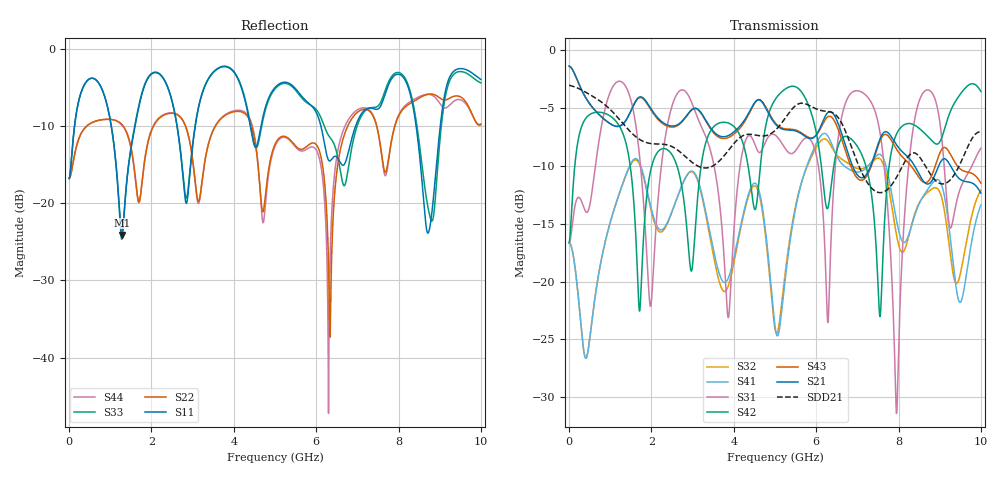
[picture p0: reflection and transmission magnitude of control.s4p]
! Created with skrf 2.0.1 (http://scikit-rf.org).
# Hz S RI R 50.0
!freq ReS11 ImS11 ReS12 ImS12 ReS13 ImS13
! ReS14 ImS14
! ReS21 ImS21 ReS22 ImS22 ReS23 ImS23
! ReS24 ImS24
! ReS31 ImS31 ReS32 ImS32 ReS33 ImS33
! ReS34 ImS34
! ReS41 ImS41 ReS42 ImS42 ReS43 ImS43
! ReS44 ImS44
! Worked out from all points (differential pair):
!   1001 points, 1 MHz to 10 GHz, reference 50 ohm
!   strongest paths, dB at 1 MHz, 2.501 GHz, 5 GHz, 7.5 GHz, 10 GHz:
!     S21: -1.4, -6.6, -6.4, -8.2, -12.4
!     S43: -1.4, -6.7, -6.3, -8.3, -11.5
!     S42: -16.6, -9.1, -4.3, -20.2, -3.6
!     S31: -16.7, -4.8, -7.3, -6.2, -8.5
!     S41: -16.7, -13.9, -23.8, -9.0, -13.4
!     S32: -16.7, -14.0, -24.1, -9.3, -12.1
!   taken as a pair (ports 1,3 in; 2,4 out), SDD21 dB: -3.0, -8.3, -7.0, -12.3, -7.1
!   lowest |S11| = -24.1 dB at 1.281 GHz (marker M1), VSWR 1.13, Z = 56.6 - j0.325 ohm
!   |S11| at or under -10 dB: 1.024 GHz to 1.603 GHz (578.4 MHz wide, 44 % of centre); 6.113 GHz to 6.959 GHz (846.1 MHz wide, 12.9 % of centre); 8.427 GHz to 9.015 GHz (587.9 MHz wide, 6.74 % of centre)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
1000000  -0.1442 0.00316  0.8509 -0.00332  0.1463 0.000694  0.147 -0.00116
         0.8509 -0.00332  -0.1454 0.00211  0.147 -0.00116  0.1476 0.00174
         0.1463 0.000694  0.147 -0.00116  -0.1442 0.00316  0.8509 -0.00332
         0.147 -0.00116  0.1476 0.00174  0.8509 -0.00332  -0.1454 0.00211
1.280872e9  0.0621 -0.00286  -0.4251 -0.21  0.6658 -0.2925  0.0599 -0.2515
            -0.4251 -0.21  0.2061 -0.2481  0.0598 -0.2505  0.2799 -0.3489
            0.6658 -0.2925  0.0598 -0.2505  0.0583 -6.58e-05  -0.4261 -0.209
            0.0599 -0.2515  0.2799 -0.3489  -0.4261 -0.209  0.2061 -0.2462
6.30037e9  0.1845 -0.0432  0.2984 -0.4498  -0.0452 0.0558  0.4162 0.057
           0.2984 -0.4498  -0.0168 -0.0369  0.3846 0.1124  0.2069 -0.0514
           -0.0452 0.0558  0.3846 0.1124  0.2638 -0.0747  0.272 -0.4389
           0.4162 0.057  0.2069 -0.0514  0.272 -0.4389  -0.00287 0.0033
6.880312e9  0.1978 0.1847  -0.2538 -0.1892  0.5974 -0.2752  0.096 -0.2844
            -0.2538 -0.1892  0.317 -0.1635  0.1302 -0.2866  0.3683 -0.1752
            0.5974 -0.2752  0.1302 -0.2866  0.1559 0.1824  -0.2381 -0.188
            0.096 -0.2844  0.3683 -0.1752  -0.2381 -0.188  0.3303 -0.1799
7.950205e9  0.6752 0.0792  0.00732 0.3896  0.0161 -0.0217  -0.1133 0.1447
            0.00732 0.3896  0.2853 -0.1837  -0.1171 0.1077  0.4095 0.1406
            0.0161 -0.0217  -0.1171 0.1077  0.6901 0.1069  0.000742 0.3732
            -0.1133 0.1447  0.4095 0.1406  0.000742 0.3732  0.2916 -0.1795
8.720128e9  0.062 0.0162  0.2632 -0.0162  0.3862 -0.549  0.1 0.2309
            0.2632 -0.0162  0.206 -0.4624  0.0568 0.2374  0.4118 -0.09
            0.3862 -0.549  0.0568 0.2374  0.0917 -0.0116  0.2707 0.016
            0.1 0.2309  0.4118 -0.09  0.2707 0.016  0.1802 -0.4722
1e10  0.6251 -0.0838  -0.2358 0.0492  0.1717 -0.3346  0.0915 -0.1932
      -0.2358 0.0492  0.0474 -0.3183  0.1394 -0.2049  0.4714 -0.4651
      0.1717 -0.3346  0.1394 -0.2049  0.5993 0.0131  -0.2586 0.0628
      0.0915 -0.1932  0.4714 -0.4651  -0.2586 0.0628  0.059 -0.3205
